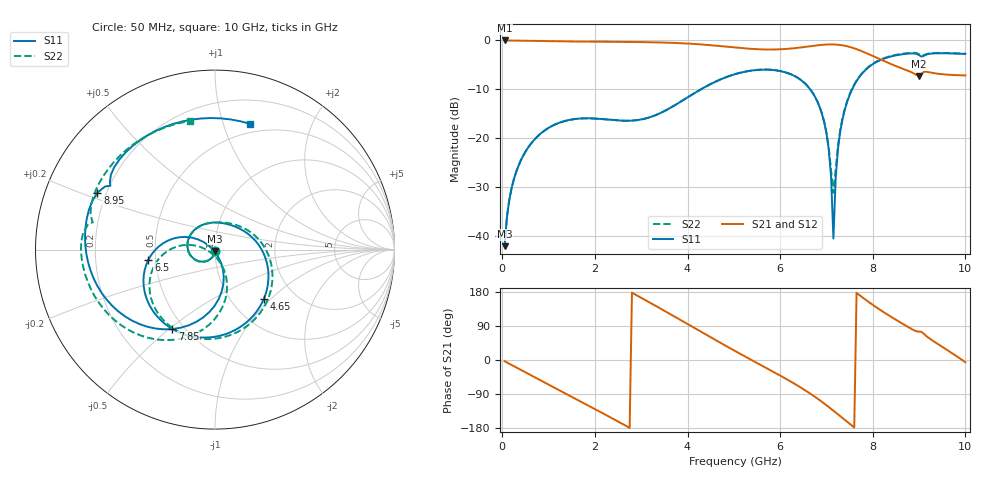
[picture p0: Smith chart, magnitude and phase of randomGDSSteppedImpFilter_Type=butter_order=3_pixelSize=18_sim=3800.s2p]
! freq	dB(S11)	phase(S11)	dB(S12)	phase(S12)
!  dB(S21)	phase(S21)	dB(S22)	phase(S22)
!S-par simulation data
#  GHz  S  DB  R 50
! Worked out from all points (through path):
!   200 points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, 50 MHz to 10 GHz, reference 50 ohm
!   highest |S21| = -0.01 dB at 50 MHz (marker M1); lowest = -7.3 dB at 9 GHz (marker M2)
!   group delay of S21, straight-line fit = 202 ps
!   lowest |S11| = -42.1 dB at 50 MHz (marker M3), VSWR 1.02, Z = 50 - j0.787 ohm
!   |S11| at or under -10 dB: start of sweep to 4.29 GHz; 6.648 GHz to 7.554 GHz (905.8 MHz wide, 12.8 % of centre)
!   |S22| runs from -42.1 to -2.5 dB; largest |S21 - S12| = 0
!   S11 on the Smith chart (normalised r, x): 50 MHz: 1.00, -0.02; 4.65 GHz: 1.40, -0.91; 6.5 GHz: 0.46, -0.06; 7.85 GHz: 0.43, -0.51; 8.95 GHz: 0.17, +0.22; 10 GHz: 0.41, +1.23
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0.05  -42.07 -86.8  -0.01 -3.3  -0.01 -3.3  -42.07 -86.8
0.2  -30.25 -102.3  -0.03 -13.1  -0.03 -13.1  -30.25 -102.0
0.5  -22.76 -123.4  -0.07 -32.6  -0.07 -32.6  -22.76 -122.6
1.75  -15.94 154.2  -0.25 -113.2  -0.25 -113.2  -15.95 157.7
2.6  -16.41 96.5  -0.31 -169.0  -0.31 -169.0  -16.42 103.5
3.4  -14.91 40.8  -0.42 136.8  -0.42 136.8  -14.92 50.3
4  -11.65 -0.7  -0.64 95.0  -0.64 95.0  -11.66 8.4
4.65  -8.24 -45.5  -1.12 49.5  -1.12 49.5  -8.23 -37.1
5.05  -6.84 -72.6  -1.48 22.1  -1.48 22.1  -6.83 -64.3
5.75  -5.99 -118.8  -1.87 -24.3  -1.87 -24.3  -5.97 -109.9
6.5  -8.50 -171.2  -1.38 -76.8  -1.38 -76.8  -8.48 -160.1
6.7  -10.70 173.1  -1.13 -92.8  -1.13 -92.8  -10.67 -174.4
7  -18.99 149.2  -0.85 -119.3  -0.85 -119.3  -18.85 168.4
7.1  -27.99 147.5  -0.82 -128.8  -0.82 -128.8  -26.68 -178.5
7.15  -40.51 -139.6  -0.83 -133.7  -0.83 -133.7  -31.17 -126.9
7.2  -28.06 -66.8  -0.85 -138.6  -0.85 -138.6  -26.21 -78.2
7.35  -15.97 -72.2  -1.02 -153.4  -1.02 -153.4  -15.72 -67.8
7.85  -5.98 -118.1  -2.55 158.6  -2.55 158.6  -5.89 -107.1
8.35  -3.39 -159.3  -4.67 117.4  -4.67 117.4  -3.30 -145.0
8.95  -2.76 154.1  -7.12 75.4  -7.12 75.4  -2.60 172.8
9  -3.02 150.1  -7.31 74.8  -7.31 74.8  -2.83 169.0
10  -2.76 74.4  -7.16 -5.7  -7.16 -5.7  -2.73 100.8
